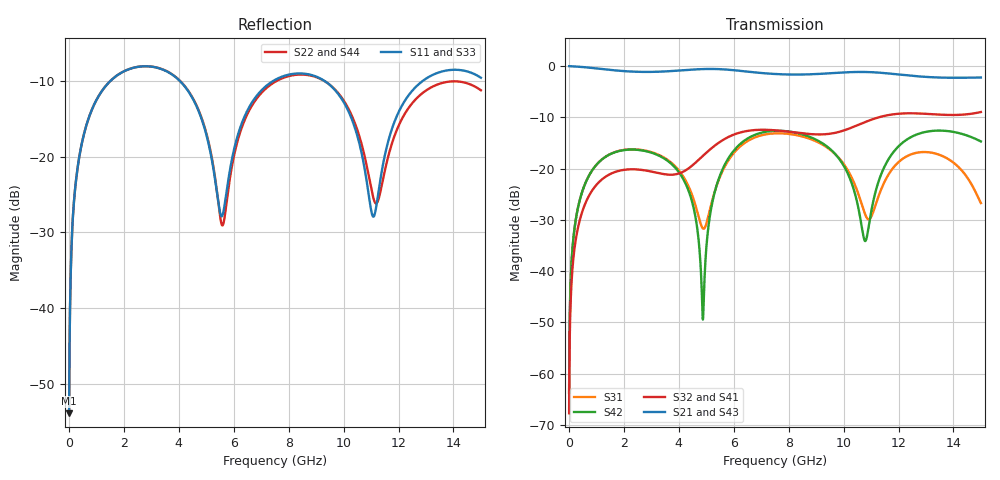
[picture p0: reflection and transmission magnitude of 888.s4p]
! Created with skrf 1.8.0 (http://scikit-rf.org).
# GHz S RI R 50.0
!freq ReS11 ImS11 ReS12 ImS12 ReS13 ImS13
! ReS14 ImS14
! ReS21 ImS21 ReS22 ImS22 ReS23 ImS23
! ReS24 ImS24
! ReS31 ImS31 ReS32 ImS32 ReS33 ImS33
! ReS34 ImS34
! ReS41 ImS41 ReS42 ImS42 ReS43 ImS43
! ReS44 ImS44
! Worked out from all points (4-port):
!   2499 points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, 5 MHz to 15 GHz, reference 50 ohm
!   strongest paths, dB at 5 MHz, 3.476 GHz, 7.19 GHz, 11.1 GHz, 15 GHz:
!     S21: 0.0, -1.0, -1.4, -1.2, -2.2
!     S43: 0.0, -1.1, -1.4, -1.2, -2.2
!     S32: -67.7, -21.1, -12.4, -10.3, -9.0
!     S41: -67.7, -21.1, -12.4, -10.3, -9.0
!     S42: -63.7, -18.1, -12.8, -25.9, -14.7
!     S31: -63.7, -17.9, -13.3, -28.1, -26.7
!   lowest |S11| = -53.9 dB at 5 MHz (marker M1), VSWR 1.00, Z = 50.2 + j0.123 ohm
!   |S11| at or under -10 dB: start of sweep to 1.517 GHz; 4.028 GHz to 7.451 GHz (3.423 GHz wide, 59.6 % of centre); 9.294 GHz to 12.89 GHz (3.599 GHz wide, 32.4 % of centre)
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0.005  0.00161 0.00122  0.9984 -0.00314  8.1e-05 0.000645  -7.87e-05 -0.000403
       0.9984 -0.00314  0.00161 0.00122  -7.87e-05 -0.000403  8.1e-05 0.000645
       8.1e-05 0.000645  -7.87e-05 -0.000403  0.00161 0.00122  0.9984 -0.00314
       -7.87e-05 -0.000403  8.1e-05 0.000645  0.9984 -0.00314  0.00161 0.00122
0.3626511  0.0293 0.0919  0.9596 -0.2246  0.0141 0.0436  -0.0116 -0.0268
           0.9596 -0.2246  0.0293 0.0919  -0.0116 -0.0268  0.0139 0.0436
           0.0141 0.0436  -0.0116 -0.0268  0.0293 0.0919  0.9596 -0.2246
           -0.0116 -0.0268  0.0139 0.0436  0.9596 -0.2246  0.0293 0.0919
1.67  0.2868 0.1715  0.5115 -0.7512  0.1342 0.0548  -0.0925 -7.49e-05
      0.5115 -0.7512  0.2873 0.1712  -0.0926 -4.38e-05  0.1327 0.057
      0.1342 0.0548  -0.0926 -4.38e-05  0.2869 0.1716  0.5114 -0.7512
      -0.0925 -7.49e-05  0.1327 0.057  0.5114 -0.7512  0.2874 0.1712
4.877032  0.0926 -0.1387  -0.8301 -0.4316  -0.0233 -0.0117  -0.0578 0.1199
          -0.8301 -0.4316  0.0901 -0.1436  -0.0576 0.1201  -0.00323 -0.00098
          -0.0233 -0.0117  -0.0576 0.1201  0.0935 -0.1402  -0.8297 -0.4316
          -0.0578 0.1199  -0.00323 -0.00098  -0.8297 -0.4316  0.091 -0.1451
8.728637  0.3421 -0.0652  0.0296 0.8302  0.1793 -0.0822  0.1997 -0.0859
          0.0296 0.8302  0.34 -0.052  0.1998 -0.0869  0.184 -0.0926
          0.1793 -0.0822  0.1998 -0.0869  0.3417 -0.0651  0.0313 0.8301
          0.1997 -0.0859  0.184 -0.0926  0.0313 0.8301  0.3398 -0.0537
10.78574  0.0511 -0.0607  0.8111 0.3317  -0.0315 -0.0171  0.0988 -0.2669
          0.8111 0.3317  0.0641 -0.0727  0.097 -0.2676  0.0192 -0.00408
          -0.0315 -0.0171  0.097 -0.2676  0.0529 -0.0614  0.812 0.329
          0.0988 -0.2669  0.0192 -0.00408  0.812 0.329  0.0628 -0.0747
15  0.3083 -0.1202  -0.2451 -0.7339  -0.00317 -0.0461  -0.333 0.1264
    -0.2451 -0.7339  0.2689 -0.0507  -0.3318 0.1303  -0.0243 -0.1826
    -0.00317 -0.0461  -0.3318 0.1303  0.3062 -0.1179  -0.2532 -0.732
    -0.333 0.1264  -0.0243 -0.1826  -0.2532 -0.732  0.2636 -0.0572
